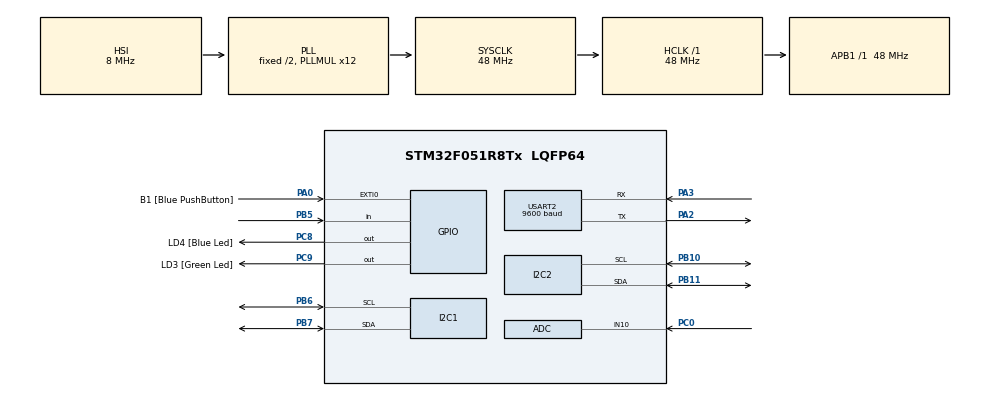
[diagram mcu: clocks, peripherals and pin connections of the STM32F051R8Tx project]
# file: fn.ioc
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I2C2.Timing=0x20303E5D
Mcu.Family=STM32F0
Mcu.Name=STM32F051R8Tx
Mcu.Package=LQFP64
PA0.GPIO_Label=B1 [Blue PushButton]
PA0.GPIO_ModeDefaultEXTI=GPIO_MODE_EVT_RISING
PA0.Signal=GPXTI0
PA13.GPIO_Label=SWDIO
PA13.Mode=Serial_Wire
PA13.Signal=SYS_SWDIO
PA14.GPIO_Label=SWCLK
PA14.Mode=Serial_Wire
PA14.Signal=SYS_SWCLK
PA2.Mode=Asynchronous
PA2.Signal=USART2_TX
PA3.Mode=Asynchronous
PA3.Signal=USART2_RX
PB10.Mode=I2C
PB10.Signal=I2C2_SCL
PB11.Mode=I2C
PB11.Signal=I2C2_SDA
PB5.Signal=GPIO_Input
PB6.Mode=I2C
PB6.Signal=I2C1_SCL
PB7.Mode=I2C
PB7.Signal=I2C1_SDA
PC0.Mode=IN10
PC0.Signal=ADC_IN10
PC8.GPIO_Label=LD4 [Blue Led]
PC8.Signal=GPIO_Output
PC9.GPIO_Label=LD3 [Green Led]
PC9.Signal=GPIO_Output
ProjectManager.HeapSize=0x200
ProjectManager.StackSize=0x400
ProjectManager.TargetToolchain=STM32CubeIDE
RCC.AHBFreq_Value=48000000
RCC.APB1Freq_Value=48000000
RCC.APB1TimFreq_Value=48000000
RCC.HCLKFreq_Value=48000000
RCC.PLLMUL=RCC_PLL_MUL12
RCC.SYSCLKFreq_VALUE=48000000
RCC.SYSCLKSource=RCC_SYSCLKSOURCE_PLLCLK
USART2.BaudRate=9600
USART2.VirtualMode-Asynchronous=VM_ASYNC
board=STM32F0DISCOVERY

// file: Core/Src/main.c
/* USER CODE BEGIN Header */
/**
  ******************************************************************************
  * @file           : main.c
  * @brief          : Main program body
  ******************************************************************************
  * @attention
  *
  * Copyright (c) 2022 STMicroelectronics.
  * All rights reserved.
  *
  * This software is licensed under terms that can be found in the LICENSE file
  * in the root directory of this software component.
  * If no LICENSE file comes with this software, it is provided AS-IS.
  *
  ******************************************************************************
  */
/* USER CODE END Header */
#include "main.h"

/* USER CODE BEGIN Includes */
#include "string.h"
#include "stm32f0xx_hal.h"
#include <stdio.h>
/* USER CODE END Includes */

/* USER CODE BEGIN PTD */
#define DELAY 250
/* USER CODE END PTD */

 ADC_HandleTypeDef hadc;

I2C_HandleTypeDef hi2c1;
I2C_HandleTypeDef hi2c2;

UART_HandleTypeDef huart2;

/* USER CODE BEGIN PV */
//static const uint8_t EEPROM_ADDR_R = 0xAB; // 1010 (Required by chip), 1011 (As wired on my board: A2 A1 A0 + R)
//static const uint8_t EEPROM_ADDR_W = 0xAA; // 1010 (Required by chip), 1010 (As wired on my board: A2 A1 A0 + !W)
/* USER CODE END PV */

void SystemClock_Config(void);
static void MX_GPIO_Init(void);
static void MX_ADC_Init(void);
static void MX_I2C2_Init(void);
static void MX_USART2_UART_Init(void);
static void MX_I2C1_Init(void);

/* USER CODE BEGIN 0 */
//Global variables
//General purpose Function to send a char array over the UART and to automatically send a new line character after it
void debugPrintln(UART_HandleTypeDef *uart_handle, char _out[]) {
	HAL_UART_Transmit(uart_handle, (uint8_t*) _out, strlen(_out), 60);
	char newline[2] = "\r\n";
	HAL_UART_Transmit(uart_handle, (uint8_t*) newline, 2, 10);
}
/* USER CODE END 0 */

int main(void)
{

  /* MCU Configuration--------------------------------------------------------*/

  /* Reset of all peripherals, Initializes the Flash interface and the Systick. */
  HAL_Init();

  /* Configure the system clock */
  SystemClock_Config();

  /* Initialize all configured peripherals */
  MX_GPIO_Init();
  MX_ADC_Init();
  MX_I2C2_Init();
  MX_USART2_UART_Init();
  MX_I2C1_Init();
  /* USER CODE BEGIN 2 */
	char str[60] = { 0 }; //Useful buffer for printing to UART
	uint8_t I2CReturn = 0; //Status var to indicate if HAL_I2C operation has succeeded (1) or failed (0);
	uint8_t i, j, Loop = 0; //Loop counters

	//Setup variables for reading and writing
	uint16_t EEPROM_DEVICE_ADDR = 0x55 << 1; //Address of EEPROM device on I2C bus
	uint16_t madd = 0x00; //Memory address variable containing a starting memory address for a location of memory in the EEPROM
	uint8_t Data = 0x10;//Data variable containing sStarting value to write to memory, could be any 8bit value
	uint8_t *sData = &Data;	//Pointer to sending Data variable
	uint8_t Result = 0x00;	//Variable to stored value read back from memory in
	uint8_t *rData = &Result;	//Pointer to result data variable

  /* USER CODE END 2 */

  /* Infinite loop */
  /* USER CODE BEGIN WHILE */

	//Say hello over UART
	debugPrintln(&huart2, "Hello, this is STMF0 Discovery board: ");

  while (1)
  {
	  //Print and increment a loop counter for visual tracking/debugging purposes only
	  		memset(str, 0, sizeof(str));	//Reset str to zeros
	  		sprintf(str, "\rLoop count %d\n", Loop);//Format string to include the loop counter variable
	  		debugPrintln(&huart2, str);
	  		Loop = Loop + 1;

	  HAL_GPIO_TogglePin(GPIOC, GPIO_PIN_8);  HAL_Delay(500);
	  int analog_value;
	  HAL_ADC_Start(&hadc);
	  	 	  if (HAL_ADC_PollForConversion(&hadc, 10) == HAL_OK){
	  	 		  analog_value = HAL_ADC_GetValue(&hadc);
	  	 	  }
	  	 	  HAL_ADC_Stop(&hadc);
	  	 	  HAL_Delay(50);
	  	 	debugPrintln("The LDR value is: %d",analog_value);
    /* USER CODE END WHILE */

  }
}

void SystemClock_Config(void)
{
  RCC_OscInitTypeDef RCC_OscInitStruct = {0};
  RCC_ClkInitTypeDef RCC_ClkInitStruct = {0};
  RCC_PeriphCLKInitTypeDef PeriphClkInit = {0};

  /** Initializes the RCC Oscillators according to the specified parameters
  * in the RCC_OscInitTypeDef structure.
  */
  RCC_OscInitStruct.OscillatorType = RCC_OSCILLATORTYPE_HSI|RCC_OSCILLATORTYPE_HSI14;
  RCC_OscInitStruct.HSIState = RCC_HSI_ON;
  RCC_OscInitStruct.HSI14State = RCC_HSI14_ON;
  RCC_OscInitStruct.HSICalibrationValue = RCC_HSICALIBRATION_DEFAULT;
  RCC_OscInitStruct.HSI14CalibrationValue = 16;
  RCC_OscInitStruct.PLL.PLLState = RCC_PLL_ON;
  RCC_OscInitStruct.PLL.PLLSource = RCC_PLLSOURCE_HSI;
  RCC_OscInitStruct.PLL.PLLMUL = RCC_PLL_MUL12;
  RCC_OscInitStruct.PLL.PREDIV = RCC_PREDIV_DIV1;
  if (HAL_RCC_OscConfig(&RCC_OscInitStruct) != HAL_OK)
  {
    Error_Handler();
  }

  /** Initializes the CPU, AHB and APB buses clocks
  */
  RCC_ClkInitStruct.ClockType = RCC_CLOCKTYPE_HCLK|RCC_CLOCKTYPE_SYSCLK
                              |RCC_CLOCKTYPE_PCLK1;
  RCC_ClkInitStruct.SYSCLKSource = RCC_SYSCLKSOURCE_PLLCLK;
  RCC_ClkInitStruct.AHBCLKDivider = RCC_SYSCLK_DIV1;
  RCC_ClkInitStruct.APB1CLKDivider = RCC_HCLK_DIV1;

  if (HAL_RCC_ClockConfig(&RCC_ClkInitStruct, FLASH_LATENCY_1) != HAL_OK)
  {
    Error_Handler();
  }
  PeriphClkInit.PeriphClockSelection = RCC_PERIPHCLK_I2C1;
  PeriphClkInit.I2c1ClockSelection = RCC_I2C1CLKSOURCE_HSI;
  if (HAL_RCCEx_PeriphCLKConfig(&PeriphClkInit) != HAL_OK)
  {
    Error_Handler();
  }
}

static void MX_ADC_Init(void)
{

  ADC_ChannelConfTypeDef sConfig = {0};

  /** Configure the global features of the ADC (Clock, Resolution, Data Alignment and number of conversion)
  */
  hadc.Instance = ADC1;
  hadc.Init.ClockPrescaler = ADC_CLOCK_ASYNC_DIV1;
  hadc.Init.Resolution = ADC_RESOLUTION_12B;
  hadc.Init.DataAlign = ADC_DATAALIGN_RIGHT;
  hadc.Init.ScanConvMode = ADC_SCAN_DIRECTION_FORWARD;
  hadc.Init.EOCSelection = ADC_EOC_SINGLE_CONV;
  hadc.Init.LowPowerAutoWait = DISABLE;
  hadc.Init.LowPowerAutoPowerOff = DISABLE;
  hadc.Init.ContinuousConvMode = DISABLE;
  hadc.Init.DiscontinuousConvMode = DISABLE;
  hadc.Init.ExternalTrigConv = ADC_SOFTWARE_START;
  hadc.Init.ExternalTrigConvEdge = ADC_EXTERNALTRIGCONVEDGE_NONE;
  hadc.Init.DMAContinuousRequests = DISABLE;
  hadc.Init.Overrun = ADC_OVR_DATA_PRESERVED;
  if (HAL_ADC_Init(&hadc) != HAL_OK)
  {
    Error_Handler();
  }

  /** Configure for the selected ADC regular channel to be converted.
  */
  sConfig.Channel = ADC_CHANNEL_10;
  sConfig.Rank = ADC_RANK_CHANNEL_NUMBER;
  sConfig.SamplingTime = ADC_SAMPLETIME_1CYCLE_5;
  if (HAL_ADC_ConfigChannel(&hadc, &sConfig) != HAL_OK)
  {
    Error_Handler();
  }

}

static void MX_I2C1_Init(void)
{

  hi2c1.Instance = I2C1;
  hi2c1.Init.Timing = 0x2000090E;
  hi2c1.Init.OwnAddress1 = 0;
  hi2c1.Init.AddressingMode = I2C_ADDRESSINGMODE_7BIT;
  hi2c1.Init.DualAddressMode = I2C_DUALADDRESS_DISABLE;
  hi2c1.Init.OwnAddress2 = 0;
  hi2c1.Init.OwnAddress2Masks = I2C_OA2_NOMASK;
  hi2c1.Init.GeneralCallMode = I2C_GENERALCALL_DISABLE;
  hi2c1.Init.NoStretchMode = I2C_NOSTRETCH_DISABLE;
  if (HAL_I2C_Init(&hi2c1) != HAL_OK)
  {
    Error_Handler();
  }

  /** Configure Analogue filter
  */
  if (HAL_I2CEx_ConfigAnalogFilter(&hi2c1, I2C_ANALOGFILTER_ENABLE) != HAL_OK)
  {
    Error_Handler();
  }

  /** Configure Digital filter
  */
  if (HAL_I2CEx_ConfigDigitalFilter(&hi2c1, 0) != HAL_OK)
  {
    Error_Handler();
  }

}

static void MX_I2C2_Init(void)
{

  hi2c2.Instance = I2C2;
  hi2c2.Init.Timing = 0x20303E5D;
  hi2c2.Init.OwnAddress1 = 0;
  hi2c2.Init.AddressingMode = I2C_ADDRESSINGMODE_7BIT;
  hi2c2.Init.DualAddressMode = I2C_DUALADDRESS_DISABLE;
  hi2c2.Init.OwnAddress2 = 0;
  hi2c2.Init.OwnAddress2Masks = I2C_OA2_NOMASK;
  hi2c2.Init.GeneralCallMode = I2C_GENERALCALL_DISABLE;
  hi2c2.Init.NoStretchMode = I2C_NOSTRETCH_DISABLE;
  if (HAL_I2C_Init(&hi2c2) != HAL_OK)
  {
    Error_Handler();
  }

  /** Configure Analogue filter
  */
  if (HAL_I2CEx_ConfigAnalogFilter(&hi2c2, I2C_ANALOGFILTER_ENABLE) != HAL_OK)
  {
    Error_Handler();
  }

  /** Configure Digital filter
  */
  if (HAL_I2CEx_ConfigDigitalFilter(&hi2c2, 0) != HAL_OK)
  {
    Error_Handler();
  }

}

static void MX_USART2_UART_Init(void)
{

  huart2.Instance = USART2;
  huart2.Init.BaudRate = 9600;
  huart2.Init.WordLength = UART_WORDLENGTH_8B;
  huart2.Init.StopBits = UART_STOPBITS_1;
  huart2.Init.Parity = UART_PARITY_NONE;
  huart2.Init.Mode = UART_MODE_TX_RX;
  huart2.Init.HwFlowCtl = UART_HWCONTROL_NONE;
  huart2.Init.OverSampling = UART_OVERSAMPLING_16;
  huart2.Init.OneBitSampling = UART_ONE_BIT_SAMPLE_DISABLE;
  huart2.AdvancedInit.AdvFeatureInit = UART_ADVFEATURE_NO_INIT;
  if (HAL_UART_Init(&huart2) != HAL_OK)
  {
    Error_Handler();
  }

}

static void MX_GPIO_Init(void)
{
  GPIO_InitTypeDef GPIO_InitStruct = {0};

  /* GPIO Ports Clock Enable */
  __HAL_RCC_GPIOC_CLK_ENABLE();
  __HAL_RCC_GPIOA_CLK_ENABLE();
  __HAL_RCC_GPIOB_CLK_ENABLE();

  /*Configure GPIO pin Output Level */
  HAL_GPIO_WritePin(GPIOC, LD4_Pin|LD3_Pin, GPIO_PIN_RESET);

  /*Configure GPIO pin : B1_Pin */
  GPIO_InitStruct.Pin = B1_Pin;
  GPIO_InitStruct.Mode = GPIO_MODE_EVT_RISING;
  GPIO_InitStruct.Pull = GPIO_NOPULL;
  HAL_GPIO_Init(B1_GPIO_Port, &GPIO_InitStruct);

  /*Configure GPIO pins : LD4_Pin LD3_Pin */
  GPIO_InitStruct.Pin = LD4_Pin|LD3_Pin;
  GPIO_InitStruct.Mode = GPIO_MODE_OUTPUT_PP;
  GPIO_InitStruct.Pull = GPIO_NOPULL;
  GPIO_InitStruct.Speed = GPIO_SPEED_FREQ_LOW;
  HAL_GPIO_Init(GPIOC, &GPIO_InitStruct);

  /*Configure GPIO pin : PB5 */
  GPIO_InitStruct.Pin = GPIO_PIN_5;
  GPIO_InitStruct.Mode = GPIO_MODE_INPUT;
  GPIO_InitStruct.Pull = GPIO_NOPULL;
  HAL_GPIO_Init(GPIOB, &GPIO_InitStruct);

}

void Error_Handler(void)
{
  __disable_irq();
  while (1)
  {
  }
}
